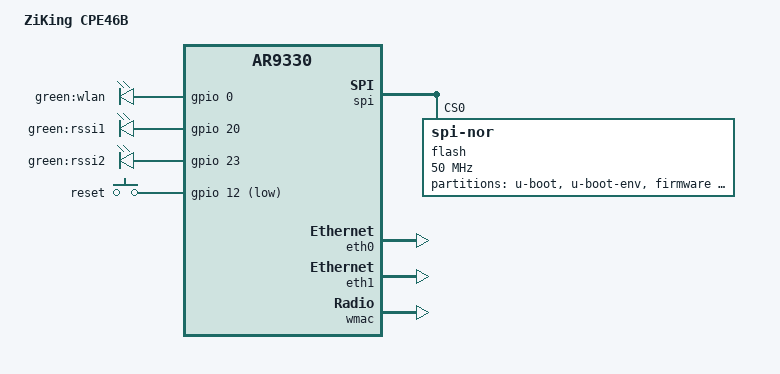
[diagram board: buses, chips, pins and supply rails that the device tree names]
// SPDX-License-Identifier: GPL-2.0-or-later OR MIT

#include "ar9330.dtsi"

#include <dt-bindings/gpio/gpio.h>
#include <dt-bindings/input/input.h>

/ {
	model = "ZiKing CPE46B";
	compatible = "ziking,cpe46b", "qca,ar9330";

	aliases {
		label-mac-device = &eth0;
	};

	leds {
		compatible = "gpio-leds";

		wlan {
			label = "green:wlan";
			gpios = <&gpio 0 GPIO_ACTIVE_HIGH>;
			linux,default-trigger = "phy0tpt";
		};

		rssi1 {
			label = "green:rssi1";
			gpios = <&gpio 20 GPIO_ACTIVE_HIGH>;
		};

		rssi2 {
			label = "green:rssi2";
			gpios = <&gpio 23 GPIO_ACTIVE_HIGH>;
		};
	};

	keys {
		compatible = "gpio-keys";

		reset {
			label = "reset";
			linux,code = <KEY_RESTART>;
			gpios = <&gpio 12 GPIO_ACTIVE_LOW>;
		};
	};
};

&spi {
	status = "okay";

	flash@0 {
		compatible = "jedec,spi-nor";
		spi-max-frequency = <50000000>;
		reg = <0>;

		partitions {
			compatible = "fixed-partitions";
			#address-cells = <1>;
			#size-cells = <1>;

			partition@0 {
				label = "u-boot";
				reg = <0x000000 0x010000>;
				read-only;
			};

			partition@10000 {
				label = "u-boot-env";
				reg = <0x010000 0x010000>;
			};

			partition@20000 {
				compatible = "denx,uimage";
				label = "firmware";
				reg = <0x020000 0x7d0000>;
			};

			art: partition@7f0000 {
				label = "art";
				reg = <0x7f0000 0x010000>;
				read-only;
			};
		};
	};
};

&eth0 {
	status = "okay";

	mtd-mac-address = <&art 0x0>;
};

&eth1 {
	status = "okay";

	mtd-mac-address = <&art 0x0>;
	mtd-mac-address-increment = <2>;
};

&wmac {
	status = "okay";

	mtd-cal-data = <&art 0x1000>;
};
